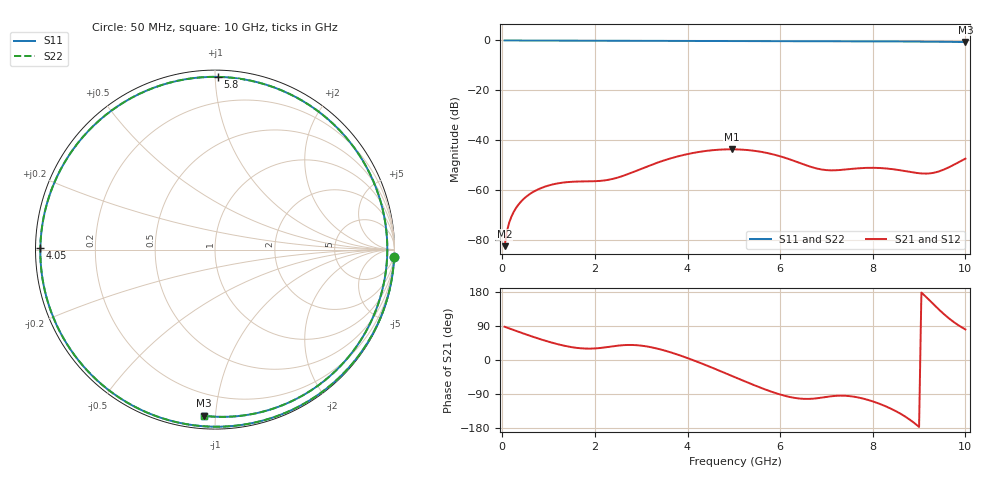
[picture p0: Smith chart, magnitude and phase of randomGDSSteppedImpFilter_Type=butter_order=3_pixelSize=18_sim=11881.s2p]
! freq	dB(S11)	phase(S11)	dB(S12)	phase(S12)
!  dB(S21)	phase(S21)	dB(S22)	phase(S22)
!S-par simulation data
#  GHz  S  DB  R 50
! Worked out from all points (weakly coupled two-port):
!   200 points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, 50 MHz to 10 GHz, reference 50 ohm
!   highest |S21| = -43.71 dB at 4.95 GHz (marker M1); lowest = -82.6 dB at 50 MHz (marker M2)
!   lowest |S11| = -0.6 dB at 10 GHz (marker M3), VSWR 26.76, Z = 3.49 - j46.6 ohm
!   |S11| at or under -10 dB: nowhere
!   |S22| runs from -0.6 to 0.0 dB; largest |S21 - S12| = 0
!   S11 on the Smith chart (normalised r, x): 50 MHz: 1, -50; 4.05 GHz: 0.01, +0.00; 5.8 GHz: 0.04, +1.02; 10 GHz: 0.07, -0.93
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0.05  -0.01 -2.3  -82.60 87.7  -82.60 87.7  -0.01 -2.3
0.15  -0.01 -6.7  -73.08 83.3  -73.08 83.3  -0.01 -6.7
0.25  -0.02 -11.2  -68.71 78.9  -68.71 78.9  -0.02 -11.2
0.55  -0.03 -24.6  -62.26 65.9  -62.26 65.9  -0.03 -24.6
1.05  -0.06 -46.7  -57.98 46.5  -57.98 46.5  -0.06 -46.7
1.75  -0.10 -77.3  -56.60 30.4  -56.60 30.4  -0.10 -77.3
2.15  -0.12 -94.7  -56.32 32.2  -56.32 32.2  -0.12 -94.7
2.55  -0.14 -112.2  -54.73 38.5  -54.73 38.5  -0.14 -112.2
3.4  -0.19 -150.1  -48.74 28.4  -48.74 28.4  -0.19 -150.1
4.05  -0.24 179.5  -45.43 2.8  -45.43 2.8  -0.24 179.5
4.5  -0.27 157.4  -44.14 -18.7  -44.14 -18.7  -0.27 157.4
4.95  -0.29 134.4  -43.71 -41.6  -43.71 -41.6  -0.29 134.4
5.05  -0.30 129.2  -43.73 -46.8  -43.73 -46.8  -0.30 129.1
5.45  -0.32 107.9  -44.33 -67.0  -44.33 -67.0  -0.32 107.9
5.8  -0.33 89.0  -45.53 -83.1  -45.53 -83.1  -0.33 89.0
6.25  -0.34 64.7  -48.02 -98.7  -48.02 -98.7  -0.34 64.7
6.7  -0.34 41.0  -50.96 -102.1  -50.96 -102.1  -0.34 41.0
7.1  -0.35 20.9  -52.15 -95.8  -52.15 -95.8  -0.35 20.9
7.5  -0.35 1.8  -51.65 -95.3  -51.65 -95.3  -0.35 1.8
8.35  -0.40 -34.7  -51.51 -126.1  -51.51 -126.1  -0.39 -34.7
9.25  -0.50 -68.3  -53.33 154.7  -53.33 154.7  -0.50 -68.3
10  -0.65 -93.9  -47.46 80.6  -47.46 80.6  -0.65 -93.9
